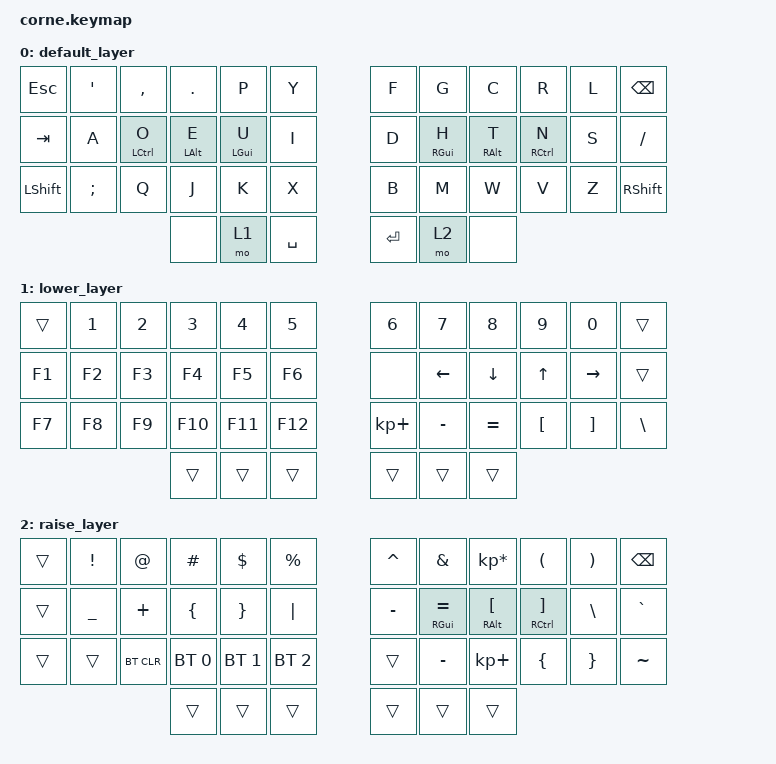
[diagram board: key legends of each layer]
/*
 * Copyright (c) 2020 The ZMK Contributors
 *
 * SPDX-License-Identifier: MIT
 */

#include <behaviors.dtsi>
#include <dt-bindings/zmk/keys.h>
#include <dt-bindings/zmk/bt.h>

/ {
        behaviors {
                hm: homerow_mods {
                        compatible = "zmk,behavior-hold-tap";
                        label = "HOMEROW_MODS";
                        #binding-cells = <2>;
                        tapping-term-ms = <300>;
                        quick-tap-ms = <0>;
                        flavor = "tap-preferred";
                        bindings = <&kp>, <&kp>;
                };
        };
        keymap {
                compatible = "zmk,keymap";
                default_layer {
                        bindings = <
                &kp ESC   &kp SQT  &kp COMMA   &kp DOT     &kp P      &kp Y      &kp F   &kp G      &kp C      &kp R       &kp L &kp BSPC
                &kp TAB   &kp A    &hm LCTRL O &hm LALT E  &hm LGUI U &kp I      &kp D   &hm RGUI H &hm RALT T &hm RCTRL N &kp S &kp FSLH
                &kp LSHFT &kp SEMI &kp Q       &kp J       &kp K      &kp X      &kp B   &kp M      &kp W      &kp V       &kp Z &kp RSHIFT
                                               &none       &mo 1      &kp SPACE  &kp RET &mo 2      &none
                        >;
                };
                lower_layer {
                        bindings = <
                &trans     &kp N1  &kp N2    &kp N3   &kp N4   &kp N5      &kp N6       &kp N7    &kp N8      &kp N9   &kp N0     &trans
                &kp F1     &kp F2  &kp F3    &kp F4   &kp F5   &kp F6      &none        &kp LEFT  &kp DOWN    &kp UP   &kp RIGHT  &trans
                &kp F7     &kp F8  &kp F9    &kp F10  &kp F11  &kp F12     &kp KP_PLUS  &kp MINUS &kp EQUAL   &kp LBKT &kp RBKT   &kp BSLH
                                             &trans   &trans   &trans      &trans       &trans    &trans
                        >;
                };
                raise_layer {
                        bindings = <
                &trans   &kp EXCL   &kp AT            &kp HASH          &kp DLLR        &kp PRCNT         &kp CARET    &kp AMPS          &kp KP_MULTIPLY   &kp LPAR         &kp RPAR   &kp BSPC
                &trans   &kp UNDER  &kp PLUS          &kp LBRC          &kp RBRC        &kp PIPE          &kp MINUS    &hm RGUI EQUAL    &hm RALT LBKT     &hm RCTRL RBKT   &kp BSLH   &kp GRAVE
                &trans   &trans     &bt BT_CLR        &bt BT_SEL 0      &bt BT_SEL 1    &bt BT_SEL 2      &trans       &kp MINUS         &kp KP_PLUS       &kp LBRC         &kp RBRC   &kp TILDE
                                                      &trans            &trans          &trans            &trans       &trans            &trans
                        >;
                };
        };
};
